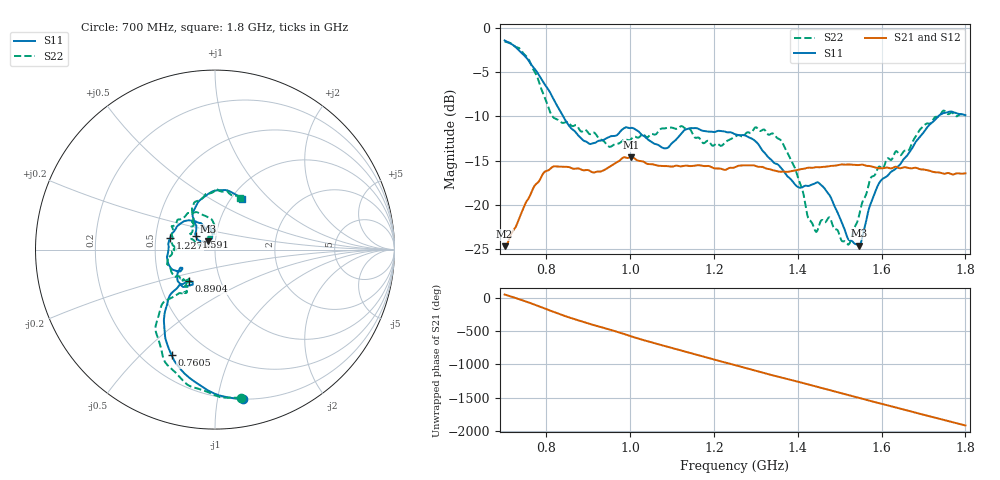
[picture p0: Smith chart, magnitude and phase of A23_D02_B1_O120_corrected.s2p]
! Created with skrf 1.9.0 (http://scikit-rf.org).
# Hz S RI R 50.0
!freq ReS11 ImS11 ReS21 ImS21 ReS12 ImS12 ReS22 ImS22
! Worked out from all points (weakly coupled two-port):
!   1601 points, 700 MHz to 1.8 GHz, reference 50 ohm
!   highest |S21| = -14.61 dB at 1.002 GHz (marker M1); lowest = -24.7 dB at 700 MHz (marker M2)
!   lowest |S11| = -24.6 dB at 1.546 GHz (marker M3), VSWR 1.12, Z = 46.2 + j4.21 ohm
!   |S11| at or under -10 dB: 839.9 MHz to 1.735 GHz (895 MHz wide, 69.5 % of centre)
!   |S22| runs from -24.5 to -1.5 dB; largest |S21 - S12| = 0.0035
!   S11 on the Smith chart (normalised r, x): 700 MHz: 0.20, -1.19; 760.5 MHz: 0.32, -0.62; 890.4 MHz: 0.70, -0.26; 1.227 GHz: 0.59, +0.08; 1.591 GHz: 0.80, +0.12; 1.8 GHz: 1.12, +0.71
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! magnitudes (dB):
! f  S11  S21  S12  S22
! 700 MHz  -1.4  -24.7  -24.5  -1.5
! 760.5 MHz  -3.9  -19.0  -18.8  -3.8
! 814.1 MHz  -7.8  -15.7  -15.8  -10.0
! 883.6 MHz  -12.5  -16.0  -15.9  -11.7
! 890.4 MHz  -12.8  -16.1  -16.1  -11.5
! 950.9 MHz  -12.3  -15.7  -15.7  -13.4
! 1.002 GHz  -11.3  -14.6  -14.7  -12.6
! 1.067 GHz  -13.2  -15.6  -15.5  -11.7
! 1.141 GHz  -11.3  -15.6  -15.6  -11.4
! 1.227 GHz  -11.7  -16.0  -15.9  -12.9
! 1.25 GHz  -12.0  -15.7  -15.7  -12.3
! 1.3 GHz  -12.9  -15.6  -15.6  -11.2
! 1.359 GHz  -15.8  -16.3  -16.2  -12.7
! 1.394 GHz  -17.7  -16.1  -16.1  -15.9
! 1.434 GHz  -17.7  -15.8  -15.8  -22.0
! 1.473 GHz  -18.7  -15.7  -15.7  -21.5
! 1.52 GHz  -23.8  -15.4  -15.4  -24.5
! 1.546 GHz  -24.6  -15.5  -15.5  -21.4
! 1.591 GHz  -17.8  -15.8  -15.8  -15.8
! 1.617 GHz  -16.6  -15.8  -15.8  -14.8
! 1.738 GHz  -9.9  -16.3  -16.4  -10.0
! 1.8 GHz  -9.9  -16.4  -16.4  -9.9
